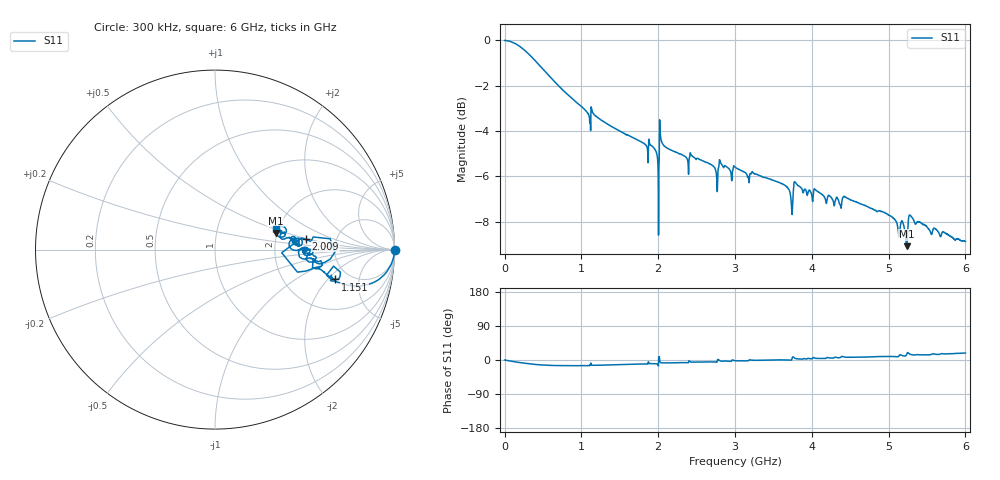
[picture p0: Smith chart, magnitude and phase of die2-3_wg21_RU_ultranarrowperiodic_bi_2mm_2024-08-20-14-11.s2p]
!Keysight Technologies,P9374A,MY57304198,A.17.20.09
!Date: Tuesday, August 20, 2024 14:11:54
!Correction: S11(C  1-Port  )
!S21(C  1-Port  )
!S12(Off)
!S22(Off)
!S2P File: Measurements: S11, S21, S12, S22:
# Hz S  dB  R 50
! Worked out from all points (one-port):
!   6000 points, 300 kHz to 6 GHz, reference 50 ohm
!   lowest |S11| = -9.1 dB at 5.236 GHz (marker M1), VSWR 2.09, Z = 98.5 + j20.8 ohm
!   |S11| at or under -10 dB: nowhere
!   S11 on the Smith chart (normalised r, x): 300 kHz: open; 1.151 GHz: 3.84, -2.45; 2.009 GHz: 3.00, +0.50; 6 GHz: 1.95, +0.51
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300000  0.00 -0.0  -200.00 45.0  -200.00 45.0  -200.00 45.0
2.323271e8  -0.35 -7.7  -200.00 45.0  -200.00 45.0  -200.00 45.0
4.11348e8  -0.94 -11.9  -200.00 45.0  -200.00 45.0  -200.00 45.0
1.000417e9  -2.91 -14.9  -200.00 45.0  -200.00 45.0  -200.00 45.0
1.151434e9  -3.21 -13.9  -200.00 45.0  -200.00 45.0  -200.00 45.0
1.905522e9  -4.62 -9.5  -200.00 45.0  -200.00 45.0  -200.00 45.0
1.97253e9  -4.89 -10.1  -200.00 45.0  -200.00 45.0  -200.00 45.0
2.000533e9  -6.09 -14.5  -200.00 45.0  -200.00 45.0  -200.00 45.0
2.008534e9  -5.83 6.9  -200.00 45.0  -200.00 45.0  -200.00 45.0
2.034537e9  -4.33 -7.0  -200.00 45.0  -200.00 45.0  -200.00 45.0
2.045539e9  -4.47 -7.5  -200.00 45.0  -200.00 45.0  -200.00 45.0
2.750621e9  -5.74 -5.6  -200.00 45.0  -200.00 45.0  -200.00 45.0
2.813628e9  -5.40 -2.9  -200.00 45.0  -200.00 45.0  -200.00 45.0
3.00065e9  -5.59 -1.9  -200.00 45.0  -200.00 45.0  -200.00 45.0
3.633724e9  -6.36 0.4  -200.00 45.0  -200.00 45.0  -200.00 45.0
3.730735e9  -7.06 -0.5  -200.00 45.0  -200.00 45.0  -200.00 45.0
3.795743e9  -6.30 3.4  -200.00 45.0  -200.00 45.0  -200.00 45.0
4.000767e9  -6.85 3.1  -200.00 45.0  -200.00 45.0  -200.00 45.0
5.000883e9  -7.70 9.3  -200.00 45.0  -200.00 45.0  -200.00 45.0
5.235911e9  -9.07 15.3  -200.00 45.0  -200.00 45.0  -200.00 45.0
5.289917e9  -7.74 14.4  -200.00 45.0  -200.00 45.0  -200.00 45.0
6e9  -8.87 18.3  -200.00 45.0  -200.00 45.0  -200.00 45.0
